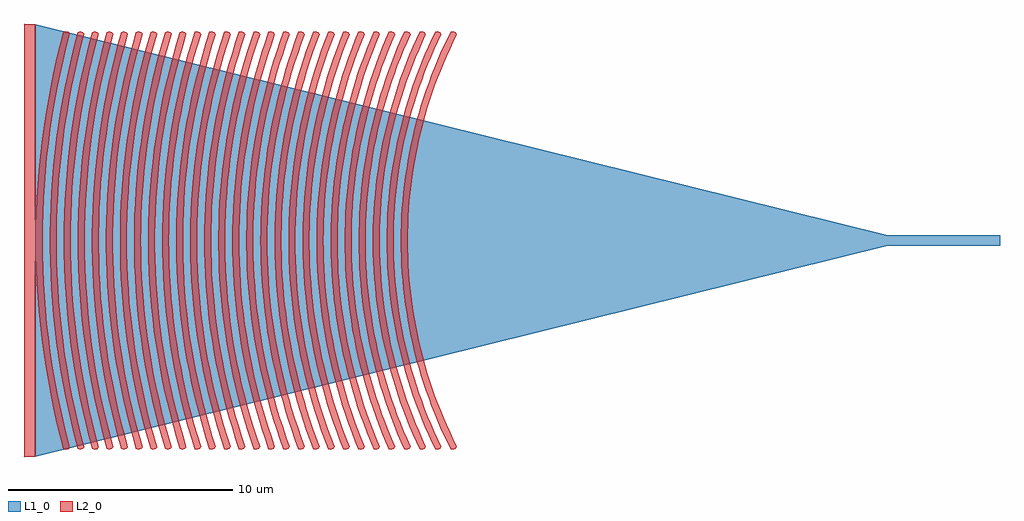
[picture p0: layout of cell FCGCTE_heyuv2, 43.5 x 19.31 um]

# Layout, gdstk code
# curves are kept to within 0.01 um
import gdstk
lib = gdstk.Library(unit=1e-6, precision=1e-09)
def R(c, l, rs):  # rectangles x0, y0, x1, y1
    for r in rs: c.add(gdstk.rectangle(r[:2], r[2:], *l))
def P(c, l, *ps):  # polygons
    for p in ps: c.add(gdstk.Polygon(p, *l))
L1_0 = (1, 0)
L2_0 = (2, 0)

fcgcte_heyuv2 = lib.new_cell('FCGCTE_heyuv2')
R(fcgcte_heyuv2, L1_0, [(-5,-0.225,0,0.225)])
P(fcgcte_heyuv2, L1_0, [(-43,-9.631),(-43,9.631),(-5,0.225),(-5,-0.225)])
P(fcgcte_heyuv2, L2_0, [(-43.5,-9.656),(-43.5,9.656),(-43,9.631),(-43,-9.631)],
  [(-24.372,-9.333),(-24.479,-9.315),(-24.938,-8.348),(-25.216,-7.688),(-25.471,-7.019),(-25.703,-6.341),(-25.912,-5.656),(-26.096,-4.964),(-26.328,-3.915),(-26.451,-3.209),(-26.55,-2.501),(-26.625,-1.788),(-26.675,-1.074),(-26.703,0),(-26.675,1.074),(-26.625,1.788),(-26.55,2.5),(-26.451,3.209),(-26.328,3.915),(-26.096,4.964),(-25.912,5.656),(-25.703,6.341),(-25.471,7.019),(-25.216,7.687),(-24.938,8.348),(-24.479,9.315),(-24.372,9.333),(-24.258,9.276),(-24.206,9.181),(-24.513,8.548),(-24.798,7.903),(-25.186,6.912),(-25.413,6.249),(-25.619,5.572),(-25.8,4.892),(-25.958,4.204),(-26.151,3.157),(-26.287,2.112),(-26.37,1.058),(-26.398,0),(-26.37,-1.058),(-26.287,-2.112),(-26.151,-3.157),(-25.958,-4.204),(-25.8,-4.892),(-25.619,-5.572),(-25.413,-6.249),(-25.186,-6.912),(-24.798,-7.903),(-24.513,-8.548),(-24.206,-9.181),(-24.258,-9.276)],
  [(-25.068,-9.333),(-25.174,-9.314),(-25.635,-8.305),(-25.914,-7.617),(-26.168,-6.92),(-26.398,-6.214),(-26.696,-5.142),(-26.863,-4.419),(-27.005,-3.69),(-27.17,-2.591),(-27.277,-1.483),(-27.316,-0.742),(-27.328,0),(-27.316,0.742),(-27.277,1.483),(-27.17,2.59),(-27.005,3.69),(-26.863,4.419),(-26.696,5.142),(-26.398,6.214),(-26.168,6.92),(-25.914,7.616),(-25.487,8.644),(-25.174,9.313),(-25.068,9.333),(-24.952,9.278),(-24.899,9.183),(-25.354,8.187),(-25.628,7.51),(-25.88,6.82),(-26.105,6.126),(-26.308,5.423),(-26.565,4.356),(-26.766,3.272),(-26.909,2.19),(-26.995,1.096),(-27.023,0),(-26.995,-1.097),(-26.909,-2.19),(-26.766,-3.272),(-26.565,-4.356),(-26.308,-5.424),(-26.105,-6.126),(-25.88,-6.82),(-25.495,-7.848),(-25.21,-8.518),(-24.899,-9.183),(-24.952,-9.278)],
  [(-25.759,-9.332),(-25.865,-9.313),(-26.321,-8.28),(-26.595,-7.576),(-26.845,-6.864),(-27.071,-6.143),(-27.361,-5.049),(-27.595,-3.941),(-27.771,-2.823),(-27.888,-1.697),(-27.934,-0.943),(-27.954,-0.189),(-27.934,0.943),(-27.856,2.073),(-27.719,3.196),(-27.595,3.941),(-27.446,4.681),(-27.271,5.415),(-27.071,6.143),(-26.845,6.864),(-26.595,7.576),(-26.321,8.279),(-25.865,9.312),(-25.759,9.332),(-25.643,9.279),(-25.589,9.184),(-26.039,8.163),(-26.311,7.465),(-26.555,6.769),(-26.777,6.059),(-26.976,5.339),(-27.225,4.251),(-27.417,3.152),(-27.552,2.044),(-27.61,1.302),(-27.649,0.186),(-27.629,-0.93),(-27.552,-2.044),(-27.417,-3.152),(-27.225,-4.251),(-26.976,-5.339),(-26.777,-6.059),(-26.555,-6.769),(-26.311,-7.465),(-26.039,-8.164),(-25.589,-9.184),(-25.643,-9.279)],
  [(-26.446,-9.332),(-26.552,-9.311),(-27.003,-8.254),(-27.274,-7.534),(-27.634,-6.439),(-27.842,-5.699),(-28.025,-4.953),(-28.182,-4.201),(-28.314,-3.444),(-28.462,-2.301),(-28.551,-1.152),(-28.58,0),(-28.551,1.152),(-28.462,2.301),(-28.314,3.444),(-28.182,4.201),(-28.025,4.953),(-27.842,5.699),(-27.634,6.439),(-27.274,7.534),(-27.003,8.253),(-26.552,9.31),(-26.446,9.332),(-26.329,9.28),(-26.273,9.186),(-26.576,8.494),(-26.858,7.783),(-27.23,6.713),(-27.548,5.623),(-27.728,4.886),(-27.883,4.145),(-28.068,3.022),(-28.194,1.893),(-28.246,1.136),(-28.275,0),(-28.246,-1.136),(-28.194,-1.893),(-28.068,-3.022),(-27.883,-4.145),(-27.728,-4.886),(-27.548,-5.623),(-27.23,-6.713),(-26.986,-7.434),(-26.719,-8.143),(-26.273,-9.186),(-26.329,-9.28)],
  [(-27.128,-9.331),(-27.235,-9.309),(-27.545,-8.576),(-27.83,-7.83),(-28.209,-6.693),(-28.429,-5.924),(-28.622,-5.149),(-28.86,-3.974),(-29.036,-2.79),(-29.151,-1.597),(-29.192,-0.799),(-29.206,0),(-29.192,0.799),(-29.151,1.597),(-29.036,2.789),(-28.86,3.974),(-28.622,5.149),(-28.429,5.924),(-28.209,6.693),(-27.83,7.83),(-27.545,8.575),(-27.235,9.308),(-27.128,9.331),(-27.012,9.281),(-26.956,9.188),(-27.405,8.097),(-27.799,6.981),(-28.029,6.225),(-28.233,5.465),(-28.488,4.31),(-28.682,3.143),(-28.816,1.969),(-28.888,0.788),(-28.901,0),(-28.888,-0.788),(-28.816,-1.969),(-28.682,-3.144),(-28.488,-4.31),(-28.233,-5.465),(-28.029,-6.225),(-27.799,-6.981),(-27.405,-8.097),(-26.956,-9.188),(-27.012,-9.281)],
  [(-27.809,-9.331),(-27.915,-9.308),(-28.223,-8.557),(-28.505,-7.793),(-28.88,-6.629),(-29.096,-5.844),(-29.284,-5.051),(-29.515,-3.851),(-29.684,-2.642),(-29.789,-1.425),(-29.831,-0.204),(-29.824,0.611),(-29.789,1.425),(-29.684,2.641),(-29.515,3.851),(-29.284,5.051),(-29.096,5.844),(-28.88,6.629),(-28.505,7.793),(-28.223,8.556),(-27.915,9.307),(-27.809,9.331),(-27.692,9.282),(-27.634,9.189),(-28.084,8.064),(-28.471,6.928),(-28.698,6.153),(-28.897,5.379),(-29.145,4.199),(-29.277,3.405),(-29.422,2.208),(-29.485,1.406),(-29.526,0.201),(-29.519,-0.603),(-29.457,-1.807),(-29.332,-3.007),(-29.145,-4.199),(-28.897,-5.379),(-28.698,-6.154),(-28.471,-6.928),(-28.084,-8.065),(-27.634,-9.189),(-27.692,-9.282)],
  [(-28.486,-9.331),(-28.592,-9.306),(-28.898,-8.537),(-29.178,-7.755),(-29.432,-6.963),(-29.658,-6.163),(-29.945,-4.95),(-30.169,-3.724),(-30.329,-2.489),(-30.426,-1.246),(-30.458,0),(-30.426,1.246),(-30.329,2.489),(-30.169,3.724),(-29.945,4.95),(-29.658,6.163),(-29.432,6.963),(-29.178,7.755),(-28.898,8.537),(-28.592,9.306),(-28.486,9.331),(-28.368,9.283),(-28.309,9.191),(-28.754,8.045),(-29.018,7.266),(-29.255,6.481),(-29.559,5.289),(-29.801,4.082),(-29.928,3.272),(-30.065,2.049),(-30.139,0.82),(-30.153,0),(-30.139,-0.82),(-30.065,-2.049),(-29.928,-3.272),(-29.801,-4.082),(-29.559,-5.289),(-29.255,-6.481),(-29.018,-7.266),(-28.754,-8.045),(-28.309,-9.191),(-28.368,-9.283)],
  [(-29.16,-9.33),(-29.266,-9.305),(-29.571,-8.516),(-29.849,-7.715),(-30.215,-6.496),(-30.518,-5.26),(-30.756,-4.011),(-30.93,-2.751),(-31.039,-1.484),(-31.083,-0.212),(-31.061,1.06),(-30.974,2.329),(-30.822,3.591),(-30.604,4.845),(-30.323,6.086),(-30.1,6.905),(-29.849,7.715),(-29.571,8.516),(-29.266,9.305),(-29.16,9.33),(-29.042,9.283),(-28.982,9.191),(-29.426,8.016),(-29.809,6.816),(-30.127,5.604),(-30.384,4.375),(-30.52,3.548),(-30.67,2.301),(-30.757,1.047),(-30.778,0.209),(-30.757,-1.047),(-30.706,-1.883),(-30.627,-2.717),(-30.457,-3.958),(-30.22,-5.197),(-30.028,-6.012),(-29.809,-6.816),(-29.426,-8.016),(-28.982,-9.192),(-29.042,-9.283)],
  [(-29.832,-9.33),(-29.938,-9.303),(-30.241,-8.495),(-30.518,-7.674),(-30.88,-6.426),(-31.178,-5.161),(-31.41,-3.882),(-31.577,-2.595),(-31.677,-1.299),(-31.71,0),(-31.677,1.299),(-31.577,2.594),(-31.41,3.882),(-31.178,5.161),(-30.88,6.426),(-30.518,7.674),(-30.241,8.495),(-29.938,9.303),(-29.832,9.33),(-29.714,9.284),(-29.653,9.193),(-30.094,7.99),(-30.473,6.761),(-30.789,5.518),(-31.04,4.259),(-31.226,2.989),(-31.313,2.138),(-31.372,1.283),(-31.405,0),(-31.372,-1.283),(-31.313,-2.138),(-31.226,-2.989),(-31.04,-4.26),(-30.789,-5.518),(-30.473,-6.761),(-30.094,-7.99),(-29.653,-9.194),(-29.714,-9.284)],
  [(-30.502,-9.33),(-30.607,-9.302),(-30.91,-8.473),(-31.185,-7.632),(-31.544,-6.353),(-31.837,-5.058),(-32.063,-3.75),(-32.176,-2.872),(-32.29,-1.549),(-32.335,-0.221),(-32.312,1.106),(-32.221,2.431),(-32.063,3.749),(-31.837,5.058),(-31.544,6.353),(-31.185,7.632),(-30.91,8.473),(-30.607,9.302),(-30.502,9.33),(-30.383,9.285),(-30.321,9.194),(-30.761,7.96),(-31.137,6.703),(-31.449,5.428),(-31.695,4.133),(-31.821,3.271),(-31.918,2.403),(-31.985,1.531),(-32.03,0.219),(-32.022,-0.656),(-31.955,-1.966),(-31.821,-3.272),(-31.695,-4.133),(-31.449,-5.428),(-31.137,-6.703),(-30.761,-7.96),(-30.321,-9.195),(-30.383,-9.285)],
  [(-31.169,-9.329),(-31.275,-9.301),(-31.577,-8.451),(-31.851,-7.588),(-32.207,-6.277),(-32.495,-4.95),(-32.649,-4.057),(-32.823,-2.712),(-32.927,-1.358),(-32.962,0),(-32.927,1.358),(-32.823,2.711),(-32.649,4.057),(-32.495,4.95),(-32.207,6.277),(-31.851,7.588),(-31.577,8.451),(-31.275,9.301),(-31.169,9.329),(-31.049,9.286),(-30.988,9.195),(-31.427,7.928),(-31.801,6.639),(-32.108,5.332),(-32.349,4.008),(-32.47,3.125),(-32.596,1.789),(-32.641,0.895),(-32.657,0),(-32.641,-0.895),(-32.596,-1.789),(-32.47,-3.125),(-32.349,-4.008),(-32.108,-5.332),(-31.801,-6.639),(-31.427,-7.928),(-30.988,-9.196),(-31.049,-9.286)],
  [(-31.835,-9.329),(-31.94,-9.3),(-32.382,-7.986),(-32.758,-6.648),(-33.065,-5.292),(-33.302,-3.924),(-33.468,-2.544),(-33.563,-1.158),(-33.587,-0.232),(-33.563,1.158),(-33.468,2.544),(-33.302,3.923),(-33.152,4.837),(-32.868,6.198),(-32.515,7.542),(-32.242,8.427),(-31.94,9.3),(-31.835,9.329),(-31.715,9.286),(-31.652,9.196),(-31.951,8.334),(-32.347,7.017),(-32.673,5.682),(-32.931,4.327),(-33.063,3.426),(-33.164,2.516),(-33.235,1.603),(-33.282,0.229),(-33.274,-0.687),(-33.235,-1.603),(-33.164,-2.516),(-33,-3.879),(-32.766,-5.233),(-32.463,-6.573),(-32.091,-7.895),(-31.652,-9.196),(-31.715,-9.286)],
  [(-32.498,-9.329),(-32.603,-9.298),(-33.046,-7.95),(-33.42,-6.576),(-33.723,-5.186),(-33.954,-3.783),(-34.112,-2.369),(-34.177,-1.422),(-34.214,0),(-34.177,1.422),(-34.112,2.369),(-33.954,3.782),(-33.723,5.186),(-33.42,6.576),(-33.046,7.95),(-32.603,9.298),(-32.498,9.329),(-32.379,9.287),(-32.315,9.198),(-32.753,7.864),(-33.124,6.505),(-33.423,5.13),(-33.583,4.205),(-33.712,3.276),(-33.808,2.343),(-33.893,0.938),(-33.909,0),(-33.893,-0.938),(-33.808,-2.343),(-33.712,-3.276),(-33.583,-4.205),(-33.423,-5.13),(-33.124,-6.505),(-32.753,-7.864),(-32.315,-9.198),(-32.379,-9.287)],
  [(-33.16,-9.328),(-33.265,-9.297),(-33.708,-7.912),(-34.08,-6.502),(-34.38,-5.075),(-34.605,-3.635),(-34.713,-2.669),(-34.813,-1.215),(-34.838,-0.243),(-34.83,0.729),(-34.755,2.185),(-34.605,3.634),(-34.38,5.075),(-34.08,6.502),(-33.708,7.912),(-33.265,9.297),(-33.16,9.328),(-33.039,9.288),(-32.975,9.199),(-33.417,7.823),(-33.784,6.433),(-34.08,5.022),(-34.236,4.072),(-34.36,3.119),(-34.451,2.161),(-34.509,1.201),(-34.533,0.24),(-34.525,-0.721),(-34.484,-1.682),(-34.36,-3.119),(-34.236,-4.072),(-34.08,-5.022),(-33.784,-6.433),(-33.417,-7.823),(-32.975,-9.199),(-33.039,-9.288)],
  [(-33.821,-9.328),(-33.925,-9.296),(-34.369,-7.872),(-34.74,-6.424),(-35.036,-4.958),(-35.255,-3.48),(-35.358,-2.489),(-35.427,-1.494),(-35.465,0),(-35.427,1.494),(-35.358,2.489),(-35.255,3.479),(-35.036,4.958),(-34.74,6.424),(-34.369,7.872),(-33.925,9.296),(-33.821,9.328),(-33.699,9.288),(-33.635,9.2),(-34.076,7.789),(-34.329,6.837),(-34.646,5.392),(-34.888,3.932),(-35.007,2.953),(-35.092,1.971),(-35.143,0.986),(-35.16,0),(-35.143,-0.986),(-35.092,-1.971),(-35.007,-2.953),(-34.888,-3.932),(-34.646,-5.392),(-34.329,-6.837),(-34.076,-7.789),(-33.635,-9.2),(-33.699,-9.288)],
  [(-34.479,-9.328),(-34.584,-9.295),(-35.029,-7.831),(-35.399,-6.342),(-35.602,-5.339),(-35.842,-3.825),(-35.957,-2.809),(-36.064,-1.278),(-36.09,-0.256),(-36.064,1.278),(-36.001,2.299),(-35.842,3.824),(-35.691,4.835),(-35.399,6.342),(-35.029,7.831),(-34.584,9.295),(-34.479,9.328),(-34.358,9.289),(-34.293,9.201),(-34.737,7.745),(-34.988,6.77),(-35.303,5.285),(-35.469,4.286),(-35.601,3.283),(-35.697,2.275),(-35.759,1.265),(-35.785,0.253),(-35.776,-0.759),(-35.732,-1.771),(-35.653,-2.78),(-35.539,-3.785),(-35.303,-5.285),(-34.988,-6.77),(-34.737,-7.745),(-34.293,-9.201),(-34.358,-9.289)],
  [(-35.137,-9.328),(-35.241,-9.294),(-35.677,-7.828),(-36.04,-6.339),(-36.239,-5.336),(-36.473,-3.822),(-36.586,-2.806),(-36.664,-1.787),(-36.716,-0.256),(-36.708,0.766),(-36.629,2.297),(-36.534,3.314),(-36.325,4.833),(-36.04,6.339),(-35.677,7.828),(-35.241,9.294),(-35.137,9.328),(-35.015,9.289),(-34.949,9.202),(-35.247,8.236),(-35.63,6.768),(-35.939,5.283),(-36.102,4.284),(-36.23,3.281),(-36.325,2.273),(-36.385,1.264),(-36.411,0.253),(-36.403,-0.758),(-36.36,-1.77),(-36.282,-2.778),(-36.17,-3.783),(-35.939,-5.283),(-35.742,-6.275),(-35.382,-7.751),(-34.949,-9.202),(-35.015,-9.289)],
  [(-35.793,-9.327),(-35.897,-9.293),(-36.335,-7.785),(-36.697,-6.252),(-36.894,-5.221),(-37.123,-3.665),(-37.231,-2.621),(-37.303,-1.574),(-37.343,0),(-37.303,1.574),(-37.231,2.621),(-37.123,3.664),(-36.894,5.221),(-36.697,6.252),(-36.335,7.785),(-35.897,9.293),(-35.793,9.327),(-35.671,9.29),(-35.605,9.203),(-36.041,7.708),(-36.288,6.699),(-36.5,5.682),(-36.753,4.143),(-36.878,3.111),(-36.967,2.077),(-37.02,1.039),(-37.038,0),(-37.02,-1.039),(-36.967,-2.077),(-36.878,-3.111),(-36.753,-4.143),(-36.5,-5.682),(-36.288,-6.699),(-36.041,-7.708),(-35.605,-9.203),(-35.671,-9.29)],
  [(-36.448,-9.327),(-36.551,-9.292),(-36.992,-7.739),(-37.354,-6.162),(-37.549,-5.101),(-37.707,-4.034),(-37.875,-2.425),(-37.94,-1.348),(-37.968,-0.27),(-37.959,0.809),(-37.875,2.425),(-37.707,4.033),(-37.549,5.101),(-37.354,6.162),(-36.992,7.739),(-36.551,9.292),(-36.448,9.327),(-36.326,9.29),(-36.259,9.204),(-36.561,8.175),(-36.945,6.625),(-37.249,5.046),(-37.404,3.994),(-37.571,2.402),(-37.635,1.335),(-37.663,0.267),(-37.654,-0.801),(-37.608,-1.869),(-37.524,-2.933),(-37.404,-3.995),(-37.249,-5.046),(-36.945,-6.625),(-36.561,-8.175),(-36.259,-9.204),(-36.326,-9.29)],
  [(-37.102,-9.327),(-37.205,-9.292),(-37.649,-7.691),(-38.01,-6.066),(-38.203,-4.973),(-38.358,-3.875),(-38.474,-2.771),(-38.576,-1.11),(-38.595,0),(-38.576,1.11),(-38.474,2.771),(-38.358,3.874),(-38.203,4.973),(-38.01,6.066),(-37.649,7.691),(-37.205,9.292),(-37.102,9.327),(-36.98,9.291),(-36.912,9.204),(-37.216,8.15),(-37.601,6.547),(-37.903,4.921),(-38.055,3.837),(-38.17,2.745),(-38.247,1.648),(-38.29,0),(-38.247,-1.648),(-38.17,-2.745),(-38.055,-3.838),(-37.903,-4.921),(-37.601,-6.547),(-37.216,-8.15),(-36.912,-9.204),(-36.98,-9.291)],
  [(-37.754,-9.327),(-37.857,-9.291),(-38.293,-7.689),(-38.647,-6.063),(-38.836,-4.97),(-39.05,-3.322),(-39.145,-2.217),(-39.202,-1.109),(-39.221,0),(-39.202,1.109),(-39.145,2.217),(-39.05,3.322),(-38.836,4.97),(-38.647,6.063),(-38.293,7.689),(-37.857,9.291),(-37.754,9.327),(-37.632,9.291),(-37.564,9.205),(-37.862,8.149),(-38.24,6.546),(-38.446,5.467),(-38.685,3.835),(-38.747,3.29),(-38.841,2.196),(-38.897,1.098),(-38.916,0),(-38.897,-1.098),(-38.841,-2.196),(-38.747,-3.29),(-38.685,-3.836),(-38.446,-5.467),(-38.24,-6.546),(-37.862,-8.149),(-37.564,-9.205),(-37.632,-9.291)],
  [(-38.406,-9.326),(-38.509,-9.29),(-38.811,-8.192),(-39.076,-7.081),(-39.401,-5.399),(-39.569,-4.271),(-39.747,-2.567),(-39.816,-1.427),(-39.846,-0.286),(-39.836,0.856),(-39.747,2.567),(-39.638,3.703),(-39.49,4.835),(-39.194,6.522),(-38.948,7.638),(-38.509,9.29),(-38.406,9.326),(-38.283,9.291),(-38.215,9.206),(-38.516,8.116),(-38.778,7.017),(-39.101,5.345),(-39.266,4.231),(-39.335,3.67),(-39.443,2.543),(-39.511,1.414),(-39.541,0.283),(-39.531,-0.848),(-39.482,-1.979),(-39.394,-3.107),(-39.335,-3.67),(-39.101,-5.345),(-38.895,-6.462),(-38.652,-7.568),(-38.215,-9.206),(-38.283,-9.291)],
  [(-39.057,-9.326),(-39.159,-9.289),(-39.456,-8.19),(-39.591,-7.636),(-39.832,-6.52),(-40.035,-5.397),(-40.2,-4.269),(-40.326,-3.134),(-40.413,-1.996),(-40.472,-0.285),(-40.462,0.856),(-40.413,1.996),(-40.268,3.701),(-40.122,4.833),(-39.832,6.52),(-39.591,7.636),(-39.159,9.289),(-39.057,9.326),(-38.933,9.291),(-38.865,9.207),(-39.294,7.567),(-39.533,6.462),(-39.735,5.344),(-39.897,4.229),(-40.022,3.106),(-40.109,1.979),(-40.167,0.283),(-40.138,-1.413),(-40.07,-2.542),(-39.965,-3.668),(-39.735,-5.344),(-39.533,-6.462),(-39.294,-7.567),(-38.865,-9.207),(-38.933,-9.291)],
  [(-39.706,-9.326),(-39.809,-9.288),(-40.109,-8.154),(-40.486,-6.431),(-40.688,-5.272),(-40.774,-4.691),(-40.916,-3.523),(-41.018,-2.351),(-41.078,-1.176),(-41.099,0),(-41.078,1.176),(-41.018,2.351),(-40.916,3.523),(-40.774,4.69),(-40.688,5.272),(-40.486,6.431),(-40.109,8.154),(-39.809,9.288),(-39.706,9.326),(-39.583,9.292),(-39.514,9.208),(-39.813,8.082),(-40.187,6.375),(-40.388,5.22),(-40.548,4.071),(-40.668,2.911),(-40.713,2.33),(-40.774,1.165),(-40.794,0),(-40.774,-1.165),(-40.713,-2.33),(-40.668,-2.911),(-40.548,-4.071),(-40.388,-5.22),(-40.187,-6.375),(-39.813,-8.082),(-39.514,-9.208),(-39.583,-9.292)],
  [(-40.355,-9.326),(-40.458,-9.288),(-40.752,-8.153),(-40.886,-7.58),(-41.123,-6.429),(-41.322,-5.27),(-41.481,-4.106),(-41.645,-2.35),(-41.705,-1.176),(-41.725,0),(-41.705,1.176),(-41.645,2.35),(-41.481,4.105),(-41.322,5.27),(-41.123,6.429),(-40.886,7.58),(-40.752,8.153),(-40.458,9.288),(-40.355,9.326),(-40.232,9.292),(-40.162,9.208),(-40.456,8.082),(-40.824,6.374),(-41.02,5.224),(-41.178,4.07),(-41.341,2.33),(-41.4,1.165),(-41.42,0),(-41.4,-1.165),(-41.341,-2.33),(-41.178,-4.07),(-41.02,-5.224),(-40.824,-6.374),(-40.456,-8.082),(-40.162,-9.208),(-40.232,-9.293)],
  [(-41.003,-9.325),(-41.106,-9.287),(-41.404,-8.115),(-41.663,-6.929),(-41.777,-6.334),(-41.974,-5.138),(-42.13,-3.935),(-42.245,-2.727),(-42.318,-1.516),(-42.349,-0.303),(-42.339,0.91),(-42.287,2.122),(-42.193,3.331),(-42.13,3.934),(-41.974,5.137),(-41.777,6.334),(-41.663,6.929),(-41.404,8.115),(-41.106,9.287),(-41.003,9.325),(-40.88,9.292),(-40.81,9.209),(-41.107,8.046),(-41.364,6.87),(-41.581,5.682),(-41.673,5.093),(-41.827,3.901),(-41.941,2.703),(-42.013,1.503),(-42.044,0.301),(-42.034,-0.902),(-41.982,-2.104),(-41.941,-2.703),(-41.827,-3.901),(-41.673,-5.093),(-41.581,-5.682),(-41.364,-6.87),(-41.107,-8.046),(-40.81,-9.209),(-40.88,-9.292)],
  [(-41.651,-9.325),(-41.753,-9.286),(-42.055,-8.074),(-42.316,-6.848),(-42.534,-5.614),(-42.627,-4.996),(-42.78,-3.752),(-42.889,-2.504),(-42.955,-1.253),(-42.977,0),(-42.955,1.253),(-42.889,2.504),(-42.78,3.751),(-42.627,4.995),(-42.534,5.614),(-42.316,6.848),(-42.055,8.074),(-41.753,9.286),(-41.651,9.325),(-41.527,9.293),(-41.457,9.21),(-41.758,8.005),(-42.017,6.791),(-42.234,5.562),(-42.325,4.953),(-42.476,3.72),(-42.585,2.483),(-42.623,1.862),(-42.65,1.242),(-42.672,0),(-42.65,-1.242),(-42.623,-1.862),(-42.585,-2.483),(-42.476,-3.72),(-42.406,-4.337),(-42.234,-5.562),(-42.017,-6.791),(-41.758,-8.005),(-41.457,-9.21),(-41.527,-9.293)])

lib.write_gds('FCGCTE_heyuv2.gds')
